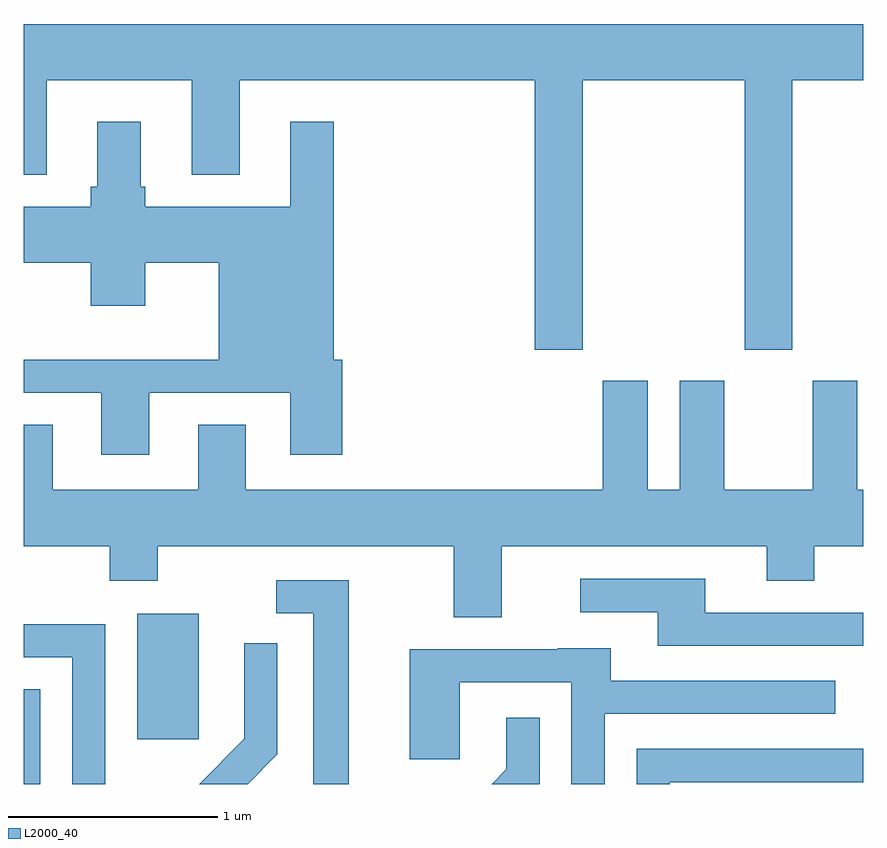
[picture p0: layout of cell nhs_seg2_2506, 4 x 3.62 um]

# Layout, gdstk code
import gdstk
lib = gdstk.Library(unit=1e-6, precision=1e-09)
def R(c, l, rs):  # rectangles x0, y0, x1, y1
    for r in rs: c.add(gdstk.rectangle(r[:2], r[2:], *l))
def P(c, l, *ps):  # polygons
    for p in ps: c.add(gdstk.Polygon(p, *l))
L2000_40 = (2000, 40)

nhs_seg2_2506 = lib.new_cell('nhs_seg2_2506')
R(nhs_seg2_2506, L2000_40, [(257.611,1093.802,257.689,1094.254), (258.151,1094.016,258.444,1094.614)])
P(nhs_seg2_2506, L2000_40, [(257.611,1096.706),(257.719,1096.706),(257.719,1097.156),(258.411,1097.156),(258.411,1096.706),(258.639,1096.706),(258.639,1097.156),(260.046,1097.156),(260.046,1095.871),(260.274,1095.871),(260.274,1097.156),(261.046,1097.156),(261.046,1095.871),(261.274,1095.871),(261.274,1097.156),(261.611,1097.156),(261.611,1097.424),(257.611,1097.424)],
  [(258.209,1095.666),(258.881,1095.666),(258.881,1095.371),(259.129,1095.371),(259.129,1095.824),(259.089,1095.824),(259.089,1096.959),(258.881,1096.959),(258.881,1096.554),(258.189,1096.554),(258.189,1096.649),(258.169,1096.649),(258.169,1096.959),(257.961,1096.959),(257.961,1096.649),(257.931,1096.649),(257.931,1096.554),(257.611,1096.554),(257.611,1096.286),(257.931,1096.286),(257.931,1096.081),(258.189,1096.081),(258.189,1096.286),(258.541,1096.286),(258.541,1095.824),(257.611,1095.824),(257.611,1095.666),(257.981,1095.666),(257.981,1095.371),(258.209,1095.371)],
  [(259.889,1094.936),(261.151,1094.936),(261.151,1094.771),(261.379,1094.771),(261.379,1094.936),(261.611,1094.936),(261.611,1095.204),(261.584,1095.204),(261.584,1095.724),(261.371,1095.724),(261.371,1095.204),(260.949,1095.204),(260.949,1095.724),(260.736,1095.724),(260.736,1095.204),(260.584,1095.204),(260.584,1095.724),(260.371,1095.724),(260.371,1095.204),(258.669,1095.204),(258.669,1095.514),(258.441,1095.514),(258.441,1095.204),(257.749,1095.204),(257.749,1095.514),(257.611,1095.514),(257.611,1094.936),(258.021,1094.936),(258.021,1094.771),(258.249,1094.771),(258.249,1094.936),(259.661,1094.936),(259.661,1094.596),(259.889,1094.596)],
  [(261.611,1094.619),(260.859,1094.619),(260.859,1094.779),(260.263,1094.779),(260.263,1094.621),(260.631,1094.621),(260.631,1094.461),(261.611,1094.461)],
  [(259.159,1094.774),(258.813,1094.774),(258.813,1094.616),(258.991,1094.616),(258.991,1093.802),(259.159,1093.802)],
  [(257.999,1094.564),(257.611,1094.564),(257.611,1094.406),(257.841,1094.406),(257.841,1093.802),(257.999,1093.802)],
  [(258.819,1093.944),(258.819,1094.473),(258.661,1094.473),(258.661,1094.017),(258.446,1093.802),(258.677,1093.802)],
  [(260.379,1094.136),(261.478,1094.136),(261.478,1094.294),(260.409,1094.294),(260.409,1094.449),(260.155,1094.449),(260.155,1094.444),(259.451,1094.444),(259.451,1093.921),(259.689,1093.921),(259.689,1094.286),(260.221,1094.286),(260.221,1093.802),(260.379,1093.802)],
  [(260.069,1093.804),(260.069,1094.118),(259.911,1094.118),(259.911,1093.872),(259.841,1093.802),(260.067,1093.802)],
  [(260.689,1093.811),(261.611,1093.811),(261.611,1093.969),(260.531,1093.969),(260.531,1093.802),(260.689,1093.802)])

lib.write_gds('nhs_seg2_2506.gds')
